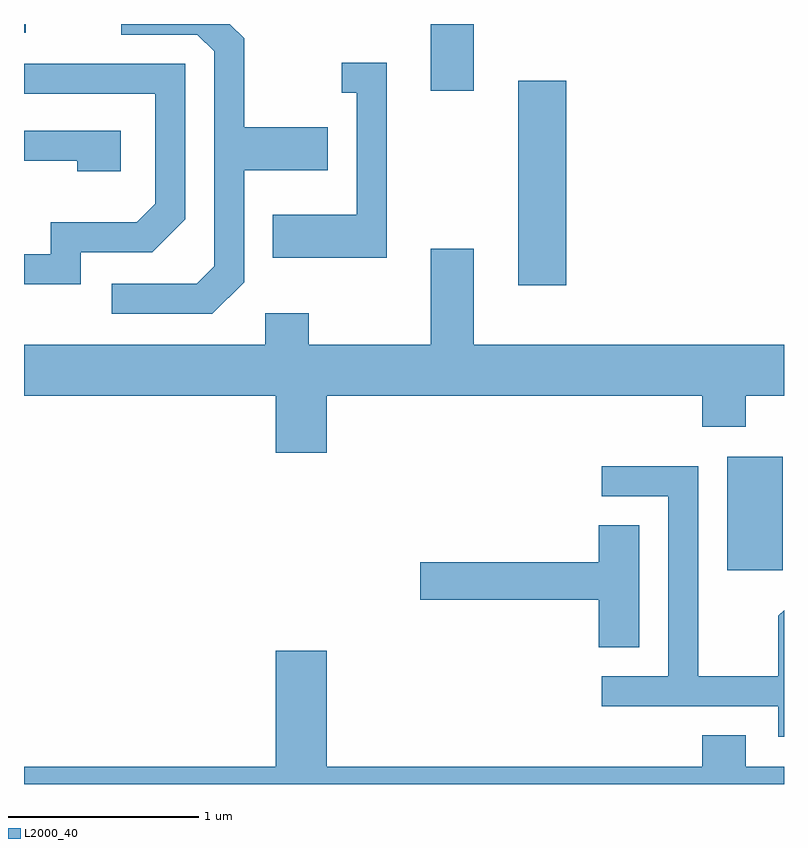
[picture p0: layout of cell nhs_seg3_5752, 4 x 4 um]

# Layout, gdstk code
import gdstk
lib = gdstk.Library(unit=1e-6, precision=1e-09)
def R(c, l, rs):  # rectangles x0, y0, x1, y1
    for r in rs: c.add(gdstk.rectangle(r[:2], r[2:], *l))
def P(c, l, *ps):  # polygons
    for p in ps: c.add(gdstk.Polygon(p, *l))
L2000_40 = (2000, 40)

nhs_seg3_5752 = lib.new_cell('nhs_seg3_5752')
R(nhs_seg3_5752, L2000_40, [(357.311,1205.016,357.604,1205.614), (356.211,1206.516,356.464,1207.594), (355.751,1207.541,355.979,1207.892), (353.611,1207.846,353.619,1207.892)])
P(nhs_seg3_5752, L2000_40, [(354.769,1206.534),(354.769,1207.121),(355.209,1207.121),(355.209,1207.349),(354.769,1207.349),(354.769,1207.817),(354.694,1207.892),(354.123,1207.892),(354.123,1207.836),(354.524,1207.836),(354.611,1207.749),(354.611,1206.617),(354.519,1206.524),(354.073,1206.524),(354.073,1206.366),(354.602,1206.366)],
  [(355.519,1207.689),(355.283,1207.689),(355.283,1207.531),(355.361,1207.531),(355.361,1206.889),(354.921,1206.889),(354.921,1206.661),(355.519,1206.661)],
  [(353.909,1206.691),(354.287,1206.691),(354.459,1206.864),(354.459,1207.684),(353.611,1207.684),(353.611,1207.526),(354.301,1207.526),(354.301,1206.947),(354.204,1206.849),(353.751,1206.849),(353.751,1206.679),(353.611,1206.679),(353.611,1206.521),(353.909,1206.521)],
  [(354.119,1207.329),(353.611,1207.329),(353.611,1207.171),(353.891,1207.171),(353.891,1207.116),(354.119,1207.116)],
  [(355.204,1205.936),(357.181,1205.936),(357.181,1205.771),(357.409,1205.771),(357.409,1205.936),(357.611,1205.936),(357.611,1206.204),(355.979,1206.204),(355.979,1206.709),(355.751,1206.709),(355.751,1206.204),(355.109,1206.204),(355.109,1206.369),(354.881,1206.369),(354.881,1206.204),(353.611,1206.204),(353.611,1205.936),(354.936,1205.936),(354.936,1205.636),(355.204,1205.636)],
  [(357.611,1204.807),(357.581,1204.777),(357.581,1204.459),(357.159,1204.459),(357.159,1205.564),(356.653,1205.564),(356.653,1205.406),(357.001,1205.406),(357.001,1204.459),(356.653,1204.459),(356.653,1204.301),(357.581,1204.301),(357.581,1204.141),(357.611,1204.141)],
  [(356.849,1205.254),(356.636,1205.254),(356.636,1205.059),(355.696,1205.059),(355.696,1204.861),(356.636,1204.861),(356.636,1204.611),(356.849,1204.611)],
  [(357.611,1203.984),(357.409,1203.984),(357.409,1204.149),(357.181,1204.149),(357.181,1203.984),(355.204,1203.984),(355.204,1204.594),(354.936,1204.594),(354.936,1203.984),(353.611,1203.984),(353.611,1203.892),(357.611,1203.892)])

lib.write_gds('nhs_seg3_5752.gds')
